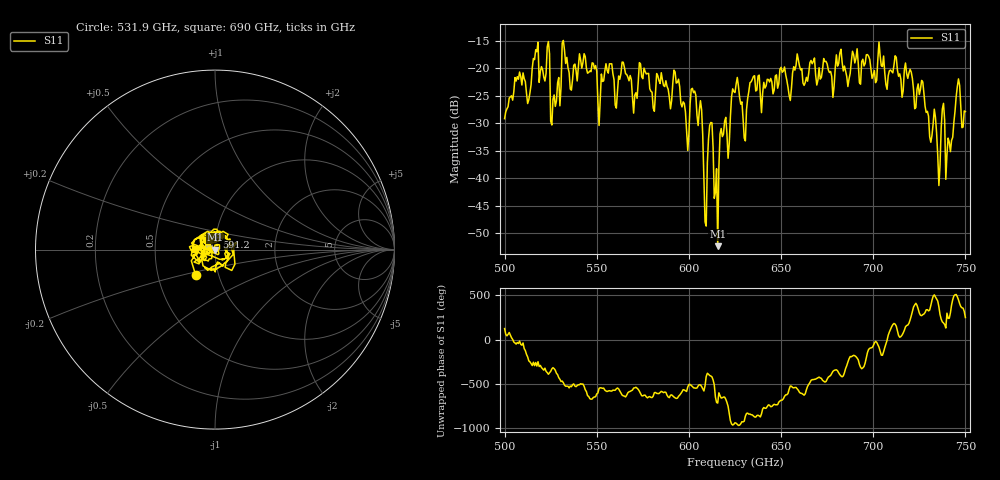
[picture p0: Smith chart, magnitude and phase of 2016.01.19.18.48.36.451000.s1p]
!Created with skrf (http://scikit-rf.org).
# GHz S RI R 50.0
!freq ReS11 ImS11
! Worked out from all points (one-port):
!   401 points, 500 GHz to 750 GHz, reference 50 ohm
!   lowest |S11| = -52.3 dB at 615.6 GHz (marker M1), VSWR 1.00, Z = 50.2 + j0.0136 ohm
!   |S11| at or under -10 dB: start of sweep to end of sweep
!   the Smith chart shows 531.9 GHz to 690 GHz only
!   S11 on the Smith chart (normalised r, x): 531.9 GHz: 0.78, -0.23; 591.2 GHz: 1.01, +0.15; 690 GHz: 0.80, +0.01
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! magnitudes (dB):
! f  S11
! 500 GHz  -29.1
! 513.1 GHz  -25.7
! 516.9 GHz  -16.6
! 523.1 GHz  -16.1
! 526.2 GHz  -25.6
! 531.2 GHz  -15.4
! 531.9 GHz  -14.9
! 562.5 GHz  -22.0
! 591.2 GHz  -22.7
! 593.8 GHz  -22.6
! 598.8 GHz  -31.6
! 602.5 GHz  -24.4
! 606.2 GHz  -25.9
! 608.8 GHz  -47.9
! 611.9 GHz  -29.8
! 615.6 GHz  -52.3
! 625 GHz  -24.4
! 630 GHz  -32.7
! 634.4 GHz  -22.0
! 656.2 GHz  -20.8
! 687.5 GHz  -20.9
! 690 GHz  -19.0
! 718.8 GHz  -21.8
! 735.6 GHz  -41.3
! 737.5 GHz  -27.4
! 740.6 GHz  -32.7
! 745.6 GHz  -23.3
! 750 GHz  -27.9
